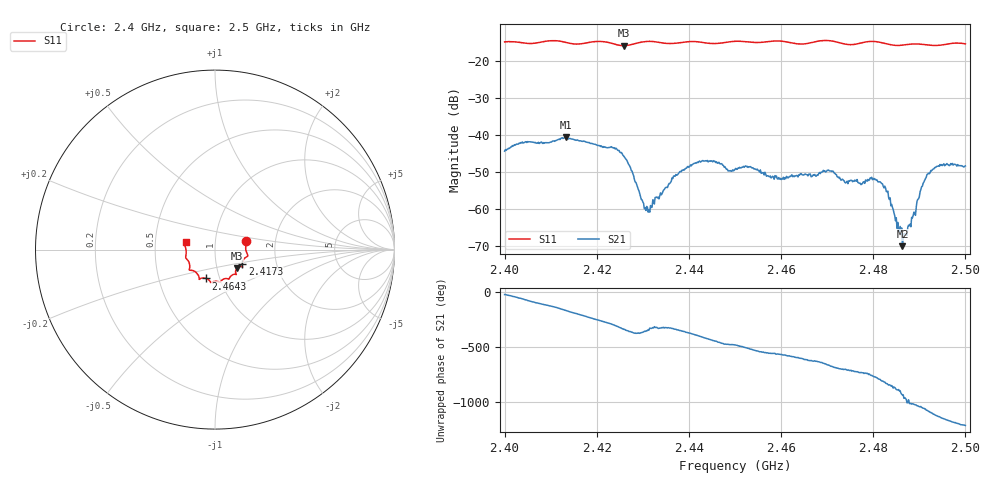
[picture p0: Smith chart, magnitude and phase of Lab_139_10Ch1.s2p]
# Hz S RI R 50
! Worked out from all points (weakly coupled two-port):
!   601 points, 2.4 GHz to 2.5 GHz, reference 50 ohm
!   highest |S21| = -40.72 dB at 2.4133 GHz (marker M1); lowest = -70.1 dB at 2.4863 GHz (marker M2)
!   lowest |S11| = -15.9 dB at 2.4258 GHz (marker M3), VSWR 1.38, Z = 62.3 - j13.3 ohm
!   |S11| at or under -10 dB: start of sweep to end of sweep
!   S12 and S22 are empty: the file has one direction only
!   S11 on the Smith chart (normalised r, x): 2.4 GHz: 1.41, +0.14; 2.4173 GHz: 1.34, -0.23; 2.4643 GHz: 0.86, -0.28; 2.5 GHz: 0.72, +0.06
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2.4e9  0.1732 0.0489  0.00549 -0.00244  0 0  0 0
2.413333e9  0.1714 -0.0428  -0.00904 -0.00173  0 0  0 0
2.416667e9  0.1525 -0.0743  -0.00709 0.00408  0 0  0 0
2.417333e9  0.1518 -0.0818  -0.00633 0.00511  0 0  0 0
2.425833e9  0.1218 -0.1037  0.00486 0.00178  0 0  0 0
2.430833e9  0.1187 -0.1387  0.00106 0.000162  0 0  0 0
2.433333e9  0.113 -0.1373  0.00127 0.00068  0 0  0 0
2.436833e9  0.0882 -0.1477  0.00254 0.00106  0 0  0 0
2.441833e9  0.075 -0.1643  0.00352 -0.00243  0 0  0 0
2.45e9  0.0289 -0.181  -0.00175 -0.00292  0 0  0 0
2.452833e9  0.0182 -0.1782  -0.00322 -0.00166  0 0  0 0
2.459667e9  -0.0237 -0.1832  -0.00226 0.00109  0 0  0 0
2.464333e9  -0.0499 -0.1605  -0.00136 0.00266  0 0  0 0
2.466667e9  -0.076 -0.1592  -0.000254 0.00271  0 0  0 0
2.4705e9  -0.0878 -0.1649  0.00197 0.00258  0 0  0 0
2.474e9  -0.0975 -0.1362  0.00213 0.00069  0 0  0 0
2.48e9  -0.1434 -0.1133  0.00177 -0.00181  0 0  0 0
2.483333e9  -0.1407 -0.0898  -0.000835 -0.00116  0 0  0 0
2.486333e9  -0.1511 -0.0602  -0.000255 0.000181  0 0  0 0
2.487667e9  -0.1586 -0.0519  -0.000113 0.00059  0 0  0 0
2.492167e9  -0.1609 -0.0237  0.00295 -0.000295  0 0  0 0
2.5e9  -0.1639 0.0425  -0.00254 -0.00281  0 0  0 0
